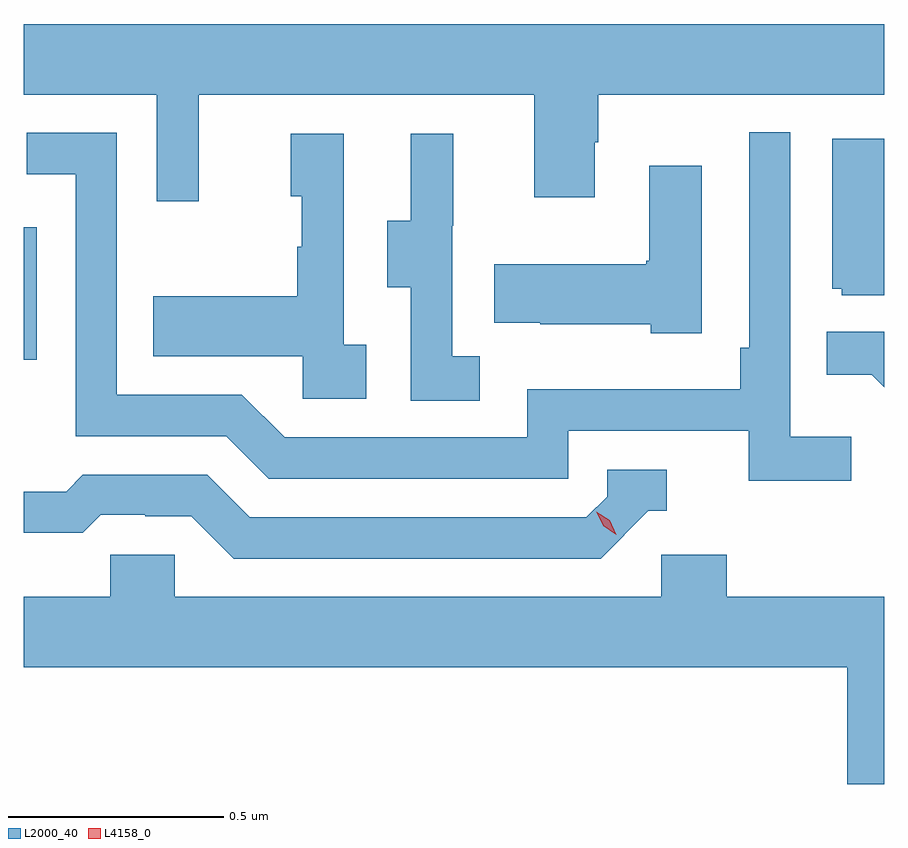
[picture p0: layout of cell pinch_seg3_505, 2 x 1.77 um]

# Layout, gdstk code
import gdstk
lib = gdstk.Library(unit=1e-6, precision=1e-09)
def R(c, l, rs):  # rectangles x0, y0, x1, y1
    for r in rs: c.add(gdstk.rectangle(r[:2], r[2:], *l))
def P(c, l, *ps):  # polygons
    for p in ps: c.add(gdstk.Polygon(p, *l))
L2000_40 = (2000, 40)
L4158_0 = (4158, 0)

pinch_seg3_505 = lib.new_cell('pinch_seg3_505')
R(pinch_seg3_505, L2000_40, [(998.184,669.663,998.214,669.972)])
P(pinch_seg3_505, L2000_40, [(998.591,670.28),(999.371,670.28),(999.371,670.041),(999.511,670.041),(999.511,670.169),(999.519,670.169),(999.519,670.28),(1000.184,670.28),(1000.184,670.444),(998.184,670.444),(998.184,670.28),(998.493,670.28),(998.493,670.032),(998.591,670.032)],
  [(1000.108,669.484),(999.966,669.484),(999.966,670.192),(999.87,670.192),(999.87,669.691),(999.85,669.691),(999.85,669.595),(999.354,669.595),(999.354,669.483),(998.79,669.483),(998.691,669.582),(998.4,669.582),(998.4,670.191),(998.191,670.191),(998.191,670.095),(998.304,670.095),(998.304,669.486),(998.654,669.486),(998.753,669.387),(999.45,669.387),(999.45,669.498),(999.869,669.498),(999.869,669.382),(1000.108,669.382)],
  [(998.98,669.698),(998.928,669.698),(998.928,670.189),(998.804,670.189),(998.804,670.044),(998.83,670.044),(998.83,669.926),(998.82,669.926),(998.82,669.811),(998.485,669.811),(998.485,669.671),(998.832,669.671),(998.832,669.573),(998.98,669.573)],
  [(999.244,669.671),(999.18,669.671),(999.18,669.975),(999.182,669.975),(999.182,670.189),(999.083,670.189),(999.083,669.987),(999.029,669.987),(999.029,669.832),(999.084,669.832),(999.084,669.568),(999.244,669.568)],
  [(1000.184,670.177),(1000.064,670.177),(1000.064,669.828),(1000.086,669.828),(1000.086,669.813),(1000.184,669.813)],
  [(999.76,670.114),(999.638,670.114),(999.638,669.894),(999.631,669.894),(999.631,669.886),(999.277,669.886),(999.277,669.749),(999.385,669.749),(999.385,669.746),(999.642,669.746),(999.642,669.725),(999.76,669.725)],
  [(1000.184,669.728),(1000.051,669.728),(1000.051,669.629),(1000.155,669.629),(1000.184,669.6)],
  [(999.636,669.312),(999.679,669.312),(999.679,669.408),(999.54,669.408),(999.54,669.345),(999.492,669.297),(998.709,669.297),(998.61,669.396),(998.321,669.396),(998.282,669.357),(998.184,669.357),(998.184,669.261),(998.321,669.261),(998.363,669.303),(998.466,669.303),(998.466,669.3),(998.573,669.3),(998.672,669.201),(999.525,669.201)],
  [(1000.184,669.112),(999.818,669.112),(999.818,669.21),(999.666,669.21),(999.666,669.112),(998.535,669.112),(998.535,669.21),(998.385,669.21),(998.385,669.112),(998.184,669.112),(998.184,668.948),(1000.098,668.948),(1000.098,668.677),(1000.184,668.677)])
P(pinch_seg3_505, L4158_0, [(999.561,669.257),(999.531,669.277),(999.515,669.31),(999.515,669.31),(999.515,669.31),(999.546,669.29),(999.561,669.257),(999.561,669.257)])

lib.write_gds('pinch_seg3_505.gds')
